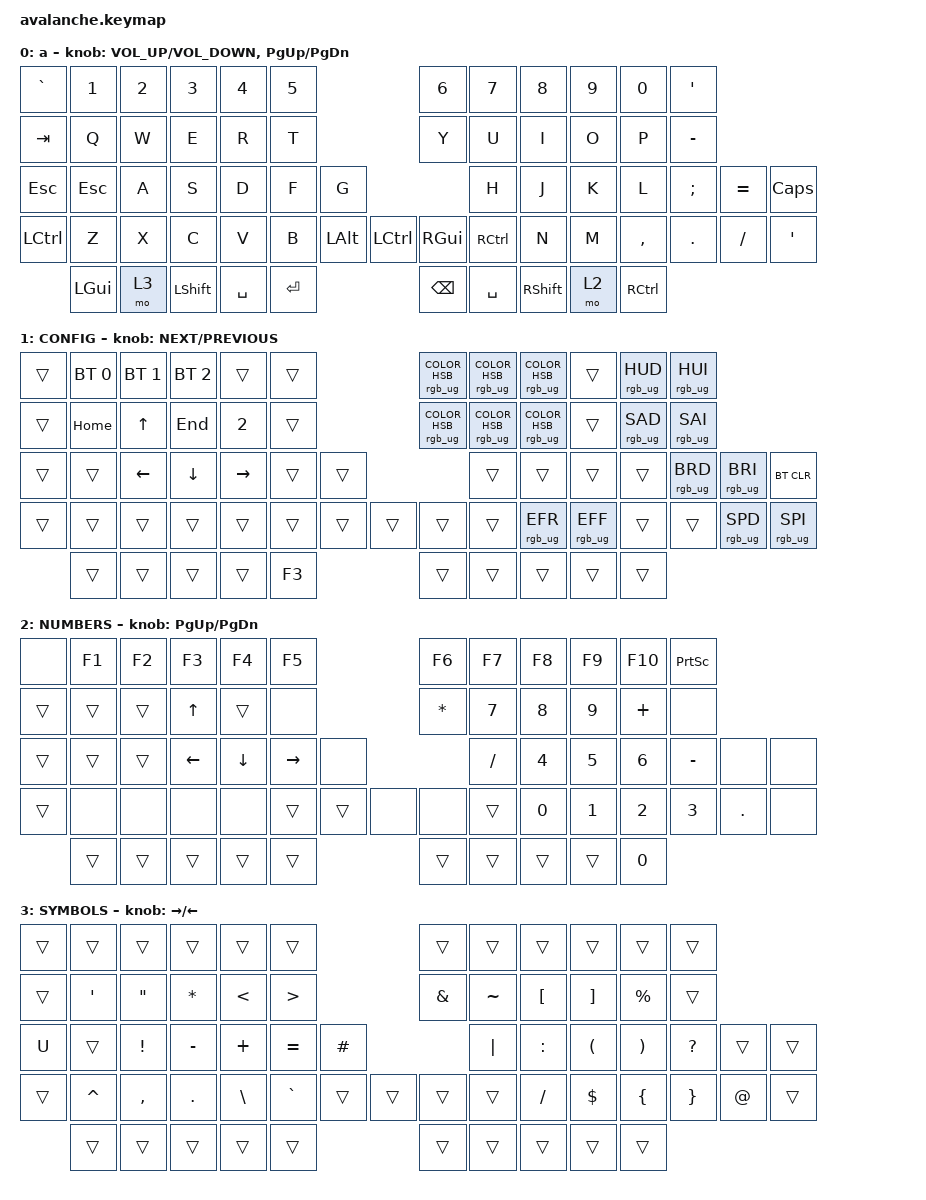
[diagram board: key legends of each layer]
#include <dt-bindings/zmk/hid_usage_pages.h>
#include <behaviors.dtsi>
#include <dt-bindings/zmk/bt.h>
#include <dt-bindings/zmk/keys.h>
#include <dt-bindings/zmk/rgb.h>

/ {
    keymap {
        compatible = "zmk,keymap";

        default_layer {
            // ---------------------------------------------------------------------------------------------------------------------------------------------
            //            |  `  |  1  |  2  |  3  |  4  |  5  |                                             |  6  |  7  |  8  |  9  |  0  |  '  |
            //            | TAB |  Q  |  W  |  E  |  R  |  T  |                                             |  Y  |  U  |  I  |  O  |  P  |  [  | 
            //    |  ESC  |CTRL |  A  |  S  |  D  |  F  |  G  |                                             |  H  |  J  |  K  |  L  |  ;  |  '  |  \   |
            //            |SHIFT|  Z  |  X  |  C  |  V  |  B  |  DEL  |                              | BSPC |  N  |  M  |  ,  |  .  |  /  |  -  |
            //                        | GUI | ALT |SPACE|RAISE| ENTER |                              | ENTER|  =  |SPACE|MO(1)|MO(2)|
            // ---------------------------------------------------------------------------------------------------------------------------------------------

            bindings = <
&kp GRAVE         &kp N1        &kp N2  &kp N3     &kp N4     &kp N5                                     &kp N6         &kp N7             &kp N8     &kp N9  &kp N0             &kp SQT
&kp TAB           &kp Q         &kp W   &kp E      &kp R      &kp T                                      &kp Y          &kp U              &kp I      &kp O   &kp P              &kp MINUS
&kp ESCAPE        &kp ESC       &kp A   &kp S      &kp D      &kp F      &kp G                                          &kp H              &kp J      &kp K   &kp L              &kp SEMICOLON  &kp EQUAL  &kp CAPSLOCK
&kp LEFT_CONTROL  &kp Z         &kp X   &kp C      &kp V      &kp B      &kp LEFT_ALT  &kp LEFT_CONTROL  &kp RIGHT_GUI  &kp RIGHT_CONTROL  &kp N      &kp M   &kp COMMA          &kp PERIOD     &kp FSLH   &kp SQT
                  &kp LEFT_GUI  &mo 3   &kp LSHFT  &kp SPACE  &kp ENTER                                  &kp BACKSPACE  &kp SPACE          &kp RSHFT  &mo 2   &kp RIGHT_CONTROL
            >;

            sensor-bindings =
                <&inc_dec_kp C_VOLUME_UP C_VOLUME_DOWN>,
                <&inc_dec_kp PG_UP PG_DN>;

            label = "a";
        };

        CONFIG {
            bindings = <
&trans  &bt BT_SEL 0  &bt BT_SEL 1    &bt BT_SEL 2    &trans     &trans                  &rgb_ug RGB_COLOR_HSB(308,100,50)  &rgb_ug RGB_COLOR_HSB(334,100,50)  &rgb_ug RGB_COLOR_HSB(121,100,48)  &trans           &rgb_ug RGB_HUD  &rgb_ug RGB_HUI
&trans  &kp HOME      &kp UP_ARROW    &kp END         &kp N2     &trans                  &rgb_ug RGB_COLOR_HSB(0,100,50)    &rgb_ug RGB_COLOR_HSB(182,100,50)  &rgb_ug RGB_COLOR_HSB(251,100,49)  &trans           &rgb_ug RGB_SAD  &rgb_ug RGB_SAI
&trans  &trans        &kp LEFT_ARROW  &kp DOWN_ARROW  &kp RIGHT  &trans  &trans                                             &trans                             &trans                             &trans           &trans           &rgb_ug RGB_BRD  &rgb_ug RGB_BRI  &bt BT_CLR
&trans  &trans        &trans          &trans          &trans     &trans  &trans  &trans  &trans                             &trans                             &rgb_ug RGB_EFR                    &rgb_ug RGB_EFF  &trans           &trans           &rgb_ug RGB_SPD  &rgb_ug RGB_SPI
        &trans        &trans          &trans          &trans     &kp F3                  &trans                             &trans                             &trans                             &trans           &trans
            >;

            sensor-bindings = <&inc_dec_kp C_NEXT C_PREVIOUS>;
        };

        NUMBERS {
            // ---------------------------------------------------------------------------------------------------------------------------------------------
            //            |     |     |     |     |     |     |                                          |     |     |     |     |     |     |
            //            |     | HOME|  UP | END |     |     |                                          |     |HOME |     |END  |     |     |
            //       |    |     | LEFT| DOWN|RIGHT|     |     |                                          |SCLUP|LEFT |  UP |  A  |PG_UP|     |    |
            //            |     |     |     |     |     |     |     |                              |     |SCLDN|LEFT | DOWN|RIGHT|PG_DN|     |
            //                        |     |     |     |     |     |                              |     |     |     |     |     |
            // ---------------------------------------------------------------------------------------------------------------------------------------------

            bindings = <
&none   &kp F1  &kp F2  &kp F3          &kp F4          &kp F5                          &kp F6        &kp F7     &kp F8        &kp F9        &kp F10       &kp PRINTSCREEN
&trans  &trans  &trans  &kp UP_ARROW    &trans          &none                           &kp ASTERISK  &kp N7     &kp N8        &kp N9        &kp PLUS      &none
&trans  &trans  &trans  &kp LEFT_ARROW  &kp DOWN_ARROW  &kp RIGHT_ARROW  &none                        &kp SLASH  &kp NUMBER_4  &kp N5        &kp NUMBER_6  &kp MINUS        &none    &none
&trans  &none   &none   &none           &none           &trans           &trans  &none  &none         &trans     &kp NUMBER_0  &kp NUMBER_1  &kp NUMBER_2  &kp NUMBER_3     &kp DOT  &none
        &trans  &trans  &trans          &trans          &trans                          &trans        &trans     &trans        &trans        &kp NUMBER_0
            >;

            sensor-bindings = <&inc_dec_kp PAGE_UP PAGE_DOWN>;
        };

        SYMBOLS {
            bindings = <
&trans  &trans     &trans             &trans      &trans         &trans                              &trans         &trans     &trans            &trans                &trans                 &trans
&trans  &kp APOS   &kp DOUBLE_QUOTES  &kp ASTRK   &kp LESS_THAN  &kp GREATER_THAN                    &kp AMPERSAND  &kp TILDE  &kp LEFT_BRACKET  &kp RIGHT_BRACKET     &kp PERCENT            &trans
&kp U   &trans     &kp EXCLAMATION    &kp MINUS   &kp PLUS       &kp EQUAL         &kp HASH                         &kp PIPE   &kp COLON         &kp LEFT_PARENTHESIS  &kp RIGHT_PARENTHESIS  &kp QUESTION     &trans       &trans
&trans  &kp CARET  &kp COMMA          &kp PERIOD  &kp BACKSLASH  &kp GRAVE         &trans    &trans  &trans         &trans     &kp SLASH         &kp DOLLAR            &kp LEFT_BRACE         &kp RIGHT_BRACE  &kp AT_SIGN  &trans
        &trans     &trans             &trans      &trans         &trans                              &trans         &trans     &trans            &trans                &trans
            >;

            sensor-bindings = <&inc_dec_kp RIGHT LEFT>;
        };
    };
};
